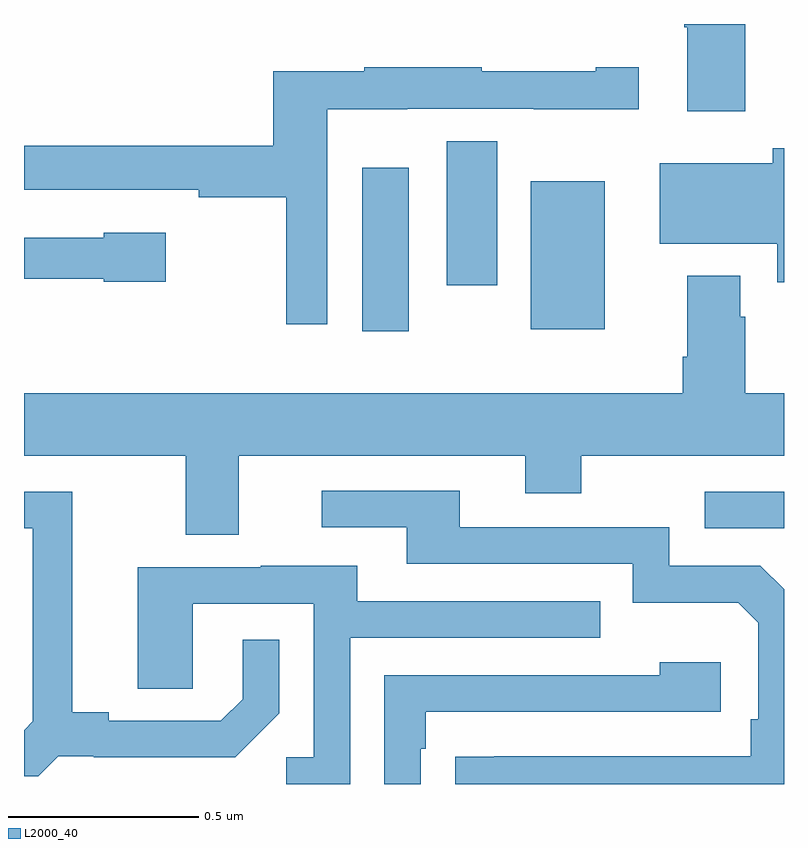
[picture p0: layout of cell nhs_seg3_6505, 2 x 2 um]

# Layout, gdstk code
import gdstk
lib = gdstk.Library(unit=1e-6, precision=1e-09)
def R(c, l, rs):  # rectangles x0, y0, x1, y1
    for r in rs: c.add(gdstk.rectangle(r[:2], r[2:], *l))
def P(c, l, *ps):  # polygons
    for p in ps: c.add(gdstk.Polygon(p, *l))
L2000_40 = (2000, 40)

nhs_seg3_6505 = lib.new_cell('nhs_seg3_6505')
R(nhs_seg3_6505, L2000_40, [(193.791,686.073,194,686.169), (192.89,686.592,193.012,687.022), (193.334,686.597,193.528,686.986), (193.112,686.712,193.246,687.092)])
P(nhs_seg3_6505, L2000_40, [(193.898,687.4),(193.738,687.4),(193.738,687.392),(193.745,687.392),(193.745,687.171),(193.898,687.171)],
  [(192.798,687.176),(193.008,687.176),(193.008,687.177),(193.342,687.177),(193.342,687.176),(193.618,687.176),(193.618,687.286),(193.505,687.286),(193.505,687.276),(193.205,687.276),(193.205,687.286),(192.895,687.286),(192.895,687.276),(192.656,687.276),(192.656,687.08),(192,687.08),(192,686.964),(192.46,686.964),(192.46,686.944),(192.69,686.944),(192.69,686.61),(192.798,686.61)],
  [(194,687.073),(193.97,687.073),(193.97,687.034),(193.673,687.034),(193.673,686.822),(193.982,686.822),(193.982,686.721),(194,686.721)],
  [(192.373,686.851),(192.21,686.851),(192.21,686.838),(192,686.838),(192,686.73),(192.21,686.73),(192.21,686.722),(192.373,686.722)],
  [(192.565,686.264),(193.319,686.264),(193.319,686.165),(193.467,686.165),(193.467,686.264),(194,686.264),(194,686.428),(193.898,686.428),(193.898,686.63),(193.885,686.63),(193.885,686.737),(193.745,686.737),(193.745,686.524),(193.733,686.524),(193.733,686.428),(192,686.428),(192,686.264),(192.425,686.264),(192.425,686.056),(192.565,686.056)],
  [(194,685.912),(193.938,685.974),(193.698,685.974),(193.698,686.076),(193.147,686.076),(193.147,686.172),(192.783,686.172),(192.783,686.076),(193.007,686.076),(193.007,685.98),(193.602,685.98),(193.602,685.877),(193.879,685.877),(193.932,685.824),(193.932,685.57),(193.912,685.57),(193.912,685.473),(193.237,685.473),(193.237,685.472),(193.135,685.472),(193.135,685.4),(194,685.4)],
  [(192.09,685.473),(192.184,685.473),(192.184,685.47),(192.556,685.47),(192.672,685.586),(192.672,685.78),(192.575,685.78),(192.575,685.623),(192.518,685.566),(192.223,685.566),(192.223,685.589),(192.127,685.589),(192.127,686.169),(192,686.169),(192,686.073),(192.023,686.073),(192.023,685.565),(192,685.542),(192,685.421),(192.038,685.421)],
  [(192.858,685.785),(193.517,685.785),(193.517,685.881),(192.877,685.881),(192.877,685.975),(192.623,685.975),(192.623,685.971),(192.299,685.971),(192.299,685.651),(192.444,685.651),(192.444,685.875),(192.762,685.875),(192.762,685.47),(192.69,685.47),(192.69,685.4),(192.858,685.4)],
  [(193.044,685.493),(193.057,685.493),(193.057,685.59),(193.834,685.59),(193.834,685.72),(193.673,685.72),(193.673,685.686),(192.948,685.686),(192.948,685.4),(193.044,685.4)])

lib.write_gds('nhs_seg3_6505.gds')
